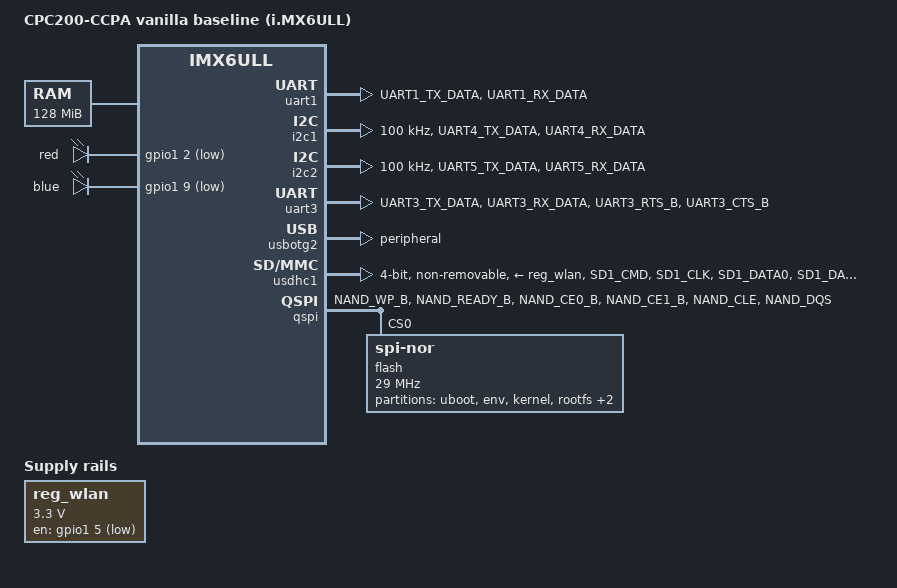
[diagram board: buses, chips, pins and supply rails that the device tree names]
// SPDX-License-Identifier: GPL-2.0
// Based on LIVI by Lasse Heitgres (https://github.com/f-io/LIVI)
// Modified 2026-10-19/20: the changes against LIVI are stated below.
/*
 * Derived from LIVI scripts/livi-link/arm/imx6ul/imx6ull.dts (https://github.com/f-io/LIVI; the LIVI
 * project is GPL-3.0-or-later, this file's upstream SPDX tag is GPL-2.0 and is kept as is).
 * LIVI: "Pin settings are the ones the vendor kernel runs with, read off a running board."
 *
 * Changes against LIVI, all for "no radio active at boot, nothing chip-specific":
 *  - GPIO1_IO05 (the radio module's power switch, reg_wlan) is muxed by the regulator node itself, not
 *    by the usdhc1 group: the MMC host is a module that is never loaded at boot, so a pin in its group
 *    would never be muxed and the regulator could not switch the module off. regulator-fixed requests
 *    its GPIO in the "off" state at probe (GPIOD_OUT_LOW, fixed.c in 7.2.10), so the module is held
 *    unpowered from that probe on; before it the pin keeps the boot loader's state.
 *    (Polarity: regulator on = GPIO driven low. LIVI's working mwifiex and the stock DTB's "wlreg_on"
 *    regulator, GPIO1_IO05 enable-active-low, agree.)
 *  - no radio is named here: build.sh makes one top-level DTS per radio (imx6ull-ccpa-baseline-<r>.dts
 *    = this file + radio-<r>.dtsi, the Bluetooth serdev node, none|iw416|rtl8822cs|rtl8822bs); each
 *    is appended to the SAME zImage, so the appended DTB is the only per-radio part of an image.
 *  - blue LED on the heartbeat trigger (kernel alive), red on until the rootfs is up.
 *  - bootargs gain panic=10: a kernel panic during a rootfs boot reboots, and the bootstate mark
 *    then keeps that next boot in recovery instead of hanging until a power cycle.
 *  - usbotg1 (the female host port) stays disabled unless the build includes imx6ull-ccpa-usbhost.dtsi
 *    (USB_HOST=1 or RECOVERY_USB=1).
 *
 * The appended DTB is what this kernel uses (ARM_APPENDED_DTB; ARM_ATAG_DTB_COMPAT must stay off): the
 * vendor U-Boot passes its own FDT (norboot: "cp 0x80800800 0x83000000 0xf800 ... bootz 0x80800000 -
 * 0x83000000") with its own bootargs (console=ttyLogFile0 root=/dev/mtdblock2 ... mtdparts=...), which
 * would otherwise replace the partition map and the console below.
 */
/dts-v1/;

#include <dt-bindings/gpio/gpio.h>
#include "imx6ull.dtsi"

/ {
	model = "CPC200-CCPA vanilla baseline (i.MX6ULL)";
	compatible = "fsl,imx6ull";

	chosen {
		stdout-path = &uart1;
		bootargs = "console=ttymxc0,115200 rdinit=/init panic=10";
	};

	memory@80000000 {
		device_type = "memory";
		reg = <0x80000000 0x08000000>;
	};

	/* Power switch of the Wi-Fi/BT module (LIVI: "Enables the Wi-Fi/BT module (PDn)"). */
	reg_wlan: regulator-wlan {
		compatible = "regulator-fixed";
		pinctrl-names = "default";
		pinctrl-0 = <&pinctrl_wlan_pwr>;
		regulator-name = "wlan";
		regulator-min-microvolt = <3300000>;
		regulator-max-microvolt = <3300000>;
		gpio = <&gpio1 5 GPIO_ACTIVE_LOW>;
		startup-delay-us = <100000>;
	};

	leds {
		compatible = "gpio-leds";
		pinctrl-names = "default";
		pinctrl-0 = <&pinctrl_leds>;

		led-red {
			label = "red";
			gpios = <&gpio1 2 GPIO_ACTIVE_LOW>;
			default-state = "on";
		};

		led-blue {
			label = "blue";
			gpios = <&gpio1 9 GPIO_ACTIVE_LOW>;
			linux,default-trigger = "heartbeat";
		};
	};
};

&iomuxc {
	pinctrl_uart1: uart1grp {
		fsl,pins = <
			MX6UL_PAD_UART1_TX_DATA__UART1_DCE_TX	0x1b0b1
			MX6UL_PAD_UART1_RX_DATA__UART1_DCE_RX	0x1b0b1
		>;
	};

	/* Both EVK buses (LIVI). The MFi coprocessor answers at 0x11 on i2c2 = /dev/i2c-1. */
	pinctrl_i2c1: i2c1grp {
		fsl,pins = <
			MX6UL_PAD_UART4_TX_DATA__I2C1_SCL	0x4001b8b0
			MX6UL_PAD_UART4_RX_DATA__I2C1_SDA	0x4001b8b0
		>;
	};

	pinctrl_i2c2: i2c2grp {
		fsl,pins = <
			MX6UL_PAD_UART5_TX_DATA__I2C2_SCL	0x4001b8b0
			MX6UL_PAD_UART5_RX_DATA__I2C2_SDA	0x4001b8b0
		>;
	};

	/* The radio module's Bluetooth UART (no device node unless a radio .dtsi adds one). */
	pinctrl_uart3: uart3grp {
		fsl,pins = <
			MX6UL_PAD_UART3_TX_DATA__UART3_DCE_TX	0x1b0b1
			MX6UL_PAD_UART3_RX_DATA__UART3_DCE_RX	0x1b0b1
			MX6UL_PAD_UART3_RTS_B__UART3_DCE_RTS	0x1b0b1
			MX6UL_PAD_UART3_CTS_B__UART3_DCE_CTS	0x1b0b1
		>;
	};

	pinctrl_qspi: qspigrp {
		fsl,pins = <
			MX6UL_PAD_NAND_WP_B__QSPI_A_SCLK	0x70a1
			MX6UL_PAD_NAND_READY_B__QSPI_A_DATA00	0x70a1
			MX6UL_PAD_NAND_CE0_B__QSPI_A_DATA01	0x70a1
			MX6UL_PAD_NAND_CE1_B__QSPI_A_DATA02	0x70a1
			MX6UL_PAD_NAND_CLE__QSPI_A_DATA03	0x70a1
			MX6UL_PAD_NAND_DQS__QSPI_A_SS0_B	0x70a1
		>;
	};

	pinctrl_usdhc1: usdhc1grp {
		fsl,pins = <
			MX6UL_PAD_SD1_CMD__USDHC1_CMD		0x17059
			MX6UL_PAD_SD1_CLK__USDHC1_CLK		0x10071
			MX6UL_PAD_SD1_DATA0__USDHC1_DATA0	0x17059
			MX6UL_PAD_SD1_DATA1__USDHC1_DATA1	0x17059
			MX6UL_PAD_SD1_DATA2__USDHC1_DATA2	0x17059
			MX6UL_PAD_SD1_DATA3__USDHC1_DATA3	0x17059
		>;
	};

	/* Moved out of usdhc1grp (LIVI) so it is muxed when reg_wlan probes. Pad value is LIVI's. */
	pinctrl_wlan_pwr: wlanpwrgrp {
		fsl,pins = <
			MX6UL_PAD_GPIO1_IO05__GPIO1_IO05	0x17059
		>;
	};

	pinctrl_leds: ledsgrp {
		fsl,pins = <
			MX6UL_PAD_GPIO1_IO02__GPIO1_IO02	0x17059
			MX6UL_PAD_GPIO1_IO09__GPIO1_IO09	0x17059
		>;
	};
};

&uart1 {
	pinctrl-names = "default";
	pinctrl-0 = <&pinctrl_uart1>;
	status = "okay";
};

&i2c1 {
	clock-frequency = <100000>;
	pinctrl-names = "default";
	pinctrl-0 = <&pinctrl_i2c1>;
	status = "okay";
};

&i2c2 {
	clock-frequency = <100000>;
	pinctrl-names = "default";
	pinctrl-0 = <&pinctrl_i2c2>;
	status = "okay";
};

&uart3 {
	pinctrl-names = "default";
	pinctrl-0 = <&pinctrl_uart3>;
	uart-has-rtscts;
	status = "okay";
};

/* The port the host sees (LIVI). */
&usbotg2 {
	dr_mode = "peripheral";
	disable-over-current;
	status = "okay";
};

/* SDIO to the radio module; sdhci-esdhc-imx is a rootfs module, never loaded at boot. */
&usdhc1 {
	pinctrl-names = "default";
	pinctrl-0 = <&pinctrl_usdhc1>;
	bus-width = <4>;
	no-1-8-v;
	non-removable;
	keep-power-in-suspend;
	vmmc-supply = <&reg_wlan>;
	status = "okay";
};

&qspi {
	pinctrl-names = "default";
	pinctrl-0 = <&pinctrl_qspi>;
	status = "okay";

	flash@0 {
		compatible = "jedec,spi-nor";
		reg = <0>;
		spi-max-frequency = <29000000>;
		spi-rx-bus-width = <1>;
		spi-tx-bus-width = <1>;

		/* LIVI's map, unchanged: hardware-proven 2026-10-19, and LIVI's provisioner keys on it. */
		partitions {
			compatible = "fixed-partitions";
			#address-cells = <1>;
			#size-cells = <1>;

			/* U-Boot, its signature and the encrypted update env (+0x20000). Never written. */
			partition@0 {
				label = "uboot";
				reg = <0x0 0x30000>;
				read-only;
			};

			/* Erasing it makes U-Boot convert the staged kernel head on the next boot (flash-kernel). */
			partition@30000 {
				label = "env";
				reg = <0x30000 0x10000>;
			};

			/* Read by U-Boot: 0x302fd8 bytes from here; staged head at +0x302fd8. */
			partition@40000 {
				label = "kernel";
				reg = <0x40000 0x340000>;
			};

			partition@380000 {
				label = "rootfs";
				reg = <0x380000 0xc60000>;
			};

			/* The baseline's persist archive (SSH host key, added keys); LIVI's livid settings. */
			partition@fe0000 {
				label = "customer";
				reg = <0xfe0000 0x10000>;
			};

			/* Marks a rootfs boot whose ways in are not up yet (recovery init, rcS). */
			partition@ff0000 {
				label = "bootstate";
				reg = <0xff0000 0x10000>;
			};
		};
	};
};

/* Generated by build.sh per kernel config: usbhost.dtsi for USB host builds (the default), else empty.
 * The radio node is added by the per-radio top-level DTS that includes this file. */
#include "imx6ull-ccpa-variant.dtsi"
